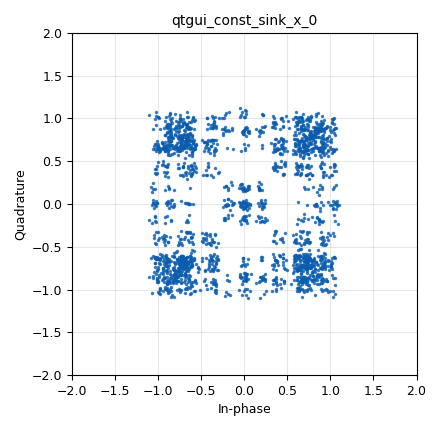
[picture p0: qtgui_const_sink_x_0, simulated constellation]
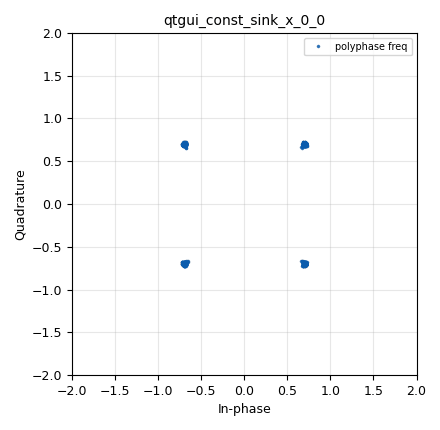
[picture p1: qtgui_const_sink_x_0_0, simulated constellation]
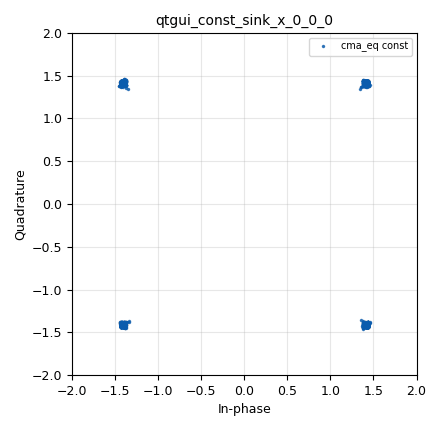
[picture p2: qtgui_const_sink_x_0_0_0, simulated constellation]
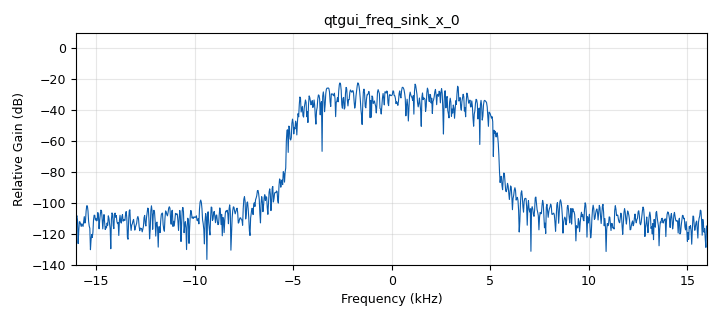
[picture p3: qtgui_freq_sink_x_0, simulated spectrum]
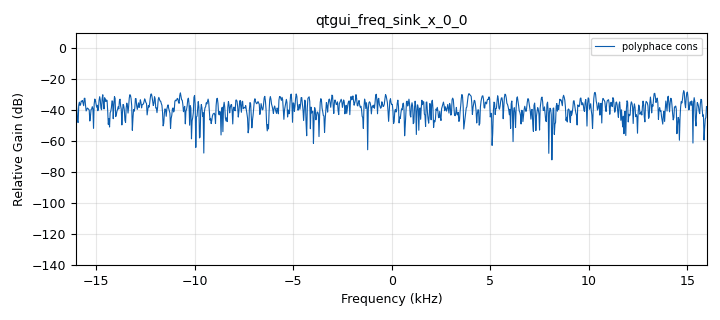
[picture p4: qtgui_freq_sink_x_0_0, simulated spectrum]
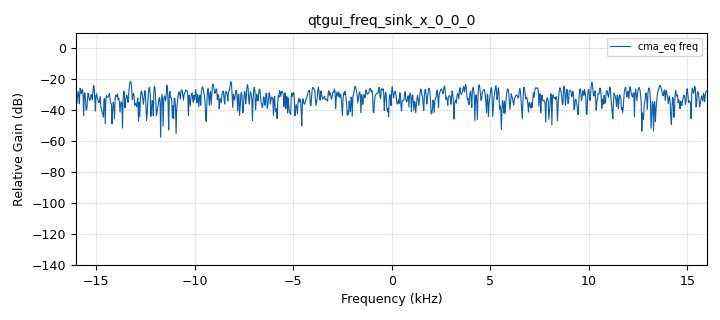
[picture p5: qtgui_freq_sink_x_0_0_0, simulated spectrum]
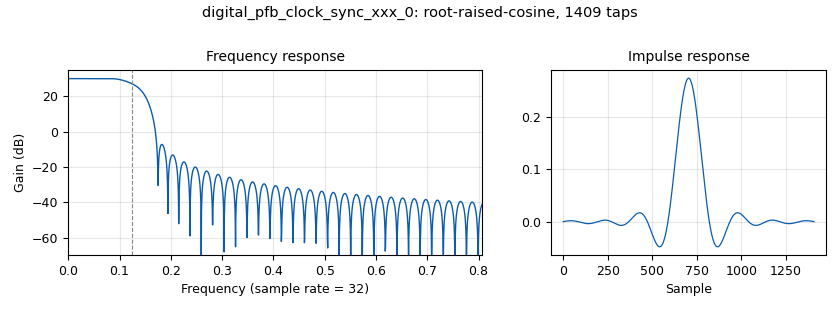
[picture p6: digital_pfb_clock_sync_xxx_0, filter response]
options:
  parameters:
    generate_options: qt_gui
    id: equlizer
    output_language: python
  states: {}

blocks:
- name: eq_gain
  id: variable_qtgui_range
  parameters:
    label: equlizer rate
    start: '0'
    step: '0.001'
    stop: '0.1'
    value: '0.01'
  states: {}
- name: excess_bw
  id: variable
  parameters:
    value: '0.35'
  states: {}
- name: freq_offset
  id: variable_qtgui_range
  parameters:
    label: channel frequncy offset
    start: '-0.1'
    step: '0.001'
    stop: '0.1'
    value: '0'
  states: {}
- name: nfilts
  id: variable
  parameters:
    value: '32'
  states: {}
- name: noise_volt
  id: variable_qtgui_range
  parameters:
    label: Noise voltage
    start: '0'
    step: '0.01'
    stop: '1'
    value: '0.0001'
  states: {}
- name: qpsk
  id: variable_constellation_rect
  parameters:
    const_points: '[0.707+0.707j, -0.707+0.707j, -0.707-0.707j, 0.707-0.707j]'
    imag_sect: '2'
    real_sect: '2'
    rot_sym: '4'
    sym_map: '[0, 1, 3, 2]'
    w_imag_sect: '1'
    w_real_sect: '1'
  states: {}
- name: rrc_taps
  id: variable
  parameters:
    value: firdes.root_raised_cosine(nfilts, nfilts, 1.0/float(sps), 0.35, 11*sps*nfilts)
  states: {}
- name: samp_rate
  id: variable
  parameters:
    value: '32000'
  states: {}
- name: sps
  id: variable
  parameters:
    value: '4'
  states: {}
- name: taps
  id: variable
  parameters:
    value: '1'
  states: {}
- name: time_offset
  id: variable_qtgui_range
  parameters:
    label: channel time offset
    start: '0.999'
    step: '0.0001'
    stop: '1.001'
    value: '1'
  states: {}
- name: timing_loop_bw
  id: variable_qtgui_range
  parameters:
    label: 'time : bw'
    start: '0'
    step: '0.01'
    stop: '0.2'
    value: '0.0628'
  states: {}
- name: variable_adaptive_algorithm_0
  id: variable_adaptive_algorithm
  parameters:
    cons: qpsk
    modulus: '4'
    step_size: '.0001'
    type: cma
  states: {}
- name: analog_random_source_x_0
  id: analog_random_source_x
  parameters:
    max: '256'
    min: '0'
    num_samps: '10000'
    repeat: 'True'
    type: byte
  states: {}
- name: blocks_throttle_0_0
  id: blocks_throttle
  parameters:
    samples_per_second: samp_rate
    type: complex
  states: {}
- name: channels_channel_model_0
  id: channels_channel_model
  parameters:
    epsilon: time_offset
    freq_offset: freq_offset
    noise_voltage: noise_volt
    seed: '0'
    taps: taps
  states: {}
- name: digital_constellation_modulator_0
  id: digital_constellation_modulator
  parameters:
    constellation: qpsk
    differential: 'True'
    excess_bw: excess_bw
    samples_per_symbol: sps
  states: {}
- name: digital_linear_equalizer_0
  id: digital_linear_equalizer
  parameters:
    alg: variable_adaptive_algorithm_0
    num_taps: '11'
    sps: '2'
  states: {}
- name: digital_pfb_clock_sync_xxx_0
  id: digital_pfb_clock_sync_xxx
  parameters:
    filter_size: nfilts
    init_phase: '16'
    loop_bw: timing_loop_bw
    max_dev: '1.5'
    osps: '1'
    sps: '4.004'
    taps: rrc_taps
    type: ccf
  states: {}
- name: qtgui_const_sink_x_0
  id: qtgui_const_sink_x
  parameters:
    size: 1024*2
    type: complex
  states: {}
- name: qtgui_const_sink_x_0_0
  id: qtgui_const_sink_x
  parameters:
    label1: polyphase freq
    size: 1024*2
    type: complex
  states: {}
- name: qtgui_const_sink_x_0_0_0
  id: qtgui_const_sink_x
  parameters:
    label1: cma_eq const
    size: 1024*2
    type: complex
  states: {}
- name: qtgui_freq_sink_x_0
  id: qtgui_freq_sink_x
  parameters:
    bw: samp_rate
    fc: '0'
    fftsize: '1024'
    type: complex
  states: {}
- name: qtgui_freq_sink_x_0_0
  id: qtgui_freq_sink_x
  parameters:
    bw: samp_rate
    fc: '0'
    fftsize: '1024'
    label1: polyphace cons
    type: complex
  states: {}
- name: qtgui_freq_sink_x_0_0_0
  id: qtgui_freq_sink_x
  parameters:
    bw: samp_rate
    fc: '0'
    fftsize: '1024'
    label1: cma_eq freq
    type: complex
  states: {}
- name: tab
  id: qtgui_tab_widget
  parameters:
    label0: channel
    label1: timing
    label2: equlizer
    num_tabs: '3'
  states: {}

connections:
- [analog_random_source_x_0, '0', digital_constellation_modulator_0, '0']
- [blocks_throttle_0_0, '0', channels_channel_model_0, '0']
- [channels_channel_model_0, '0', digital_pfb_clock_sync_xxx_0, '0']
- [channels_channel_model_0, '0', qtgui_const_sink_x_0, '0']
- [channels_channel_model_0, '0', qtgui_freq_sink_x_0, '0']
- [digital_constellation_modulator_0, '0', blocks_throttle_0_0, '0']
- [digital_linear_equalizer_0, '0', qtgui_const_sink_x_0_0_0, '0']
- [digital_linear_equalizer_0, '0', qtgui_freq_sink_x_0_0_0, '0']
- [digital_pfb_clock_sync_xxx_0, '0', digital_linear_equalizer_0, '0']
- [digital_pfb_clock_sync_xxx_0, '0', qtgui_const_sink_x_0_0, '0']
- [digital_pfb_clock_sync_xxx_0, '0', qtgui_freq_sink_x_0_0, '0']

metadata:
  file_format: 1
